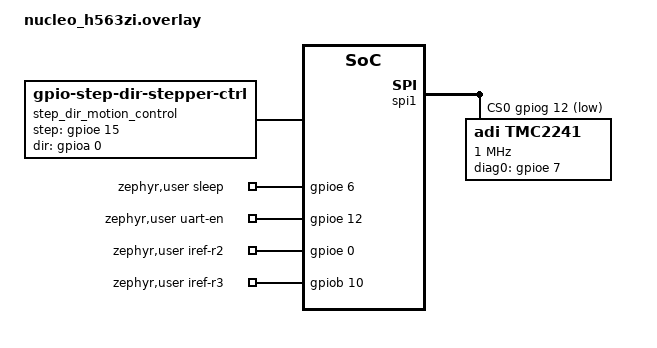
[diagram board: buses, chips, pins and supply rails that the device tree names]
/*
 * SPDX-FileCopyrightText: Copyright (c) 2026
 * SPDX-License-Identifier: Apache-2.0
 *
 * TMC2241-EVKIT (TMC2241-EVAL board), bridged to the Nucleo-H563ZI via the
 * "Sternbruecke Nucleo V0.1" adapter board (stacks on the Nucleo's Arduino/
 * Morpho headers, plugs directly into the EVAL board's J201 connector - no
 * loose jumper wires for the signals below). Every pin here was traced
 * directly off the Sternbruecke schematic + cross-checked against ST's
 * UM3115 Zio connector tables, not guessed.
 *
 * TMC2241-EVAL J201 pin -> Sternbruecke J101 pin -> Nucleo Zio Dxx -> STM32 pin:
 *   27 SPI_SCK    -> D13 -> PA5  (board default &spi1 pinctrl, unchanged)
 *   29 SPI_MOSI   -> D11 -> PB5  (board default &spi1 pinctrl, unchanged)
 *   28 SPI_MISO   -> D12 -> PG9  (board default &spi1 pinctrl, unchanged)
 *   24 SPI_CS_DRV -> D7  -> PG12 (overrides the board's default D10/PD14 CS)
 *    8 DRV_EN     -> D35 -> PA3
 *   38 DIAG0      -> D41 -> PE7
 *   19 SLEEP      -> D38 -> PE6  (must stay driven high - datasheet: floating/low = sleep)
 *   20 UART_EN    -> D39 -> PE12 (low = SPI mode)
 *    9 IREF_R2    -> D34 -> PE0  (low = lowest/safest current range, see IREF_R3)
 *   10 IREF_R3    -> D36 -> PB10
 *   23 CLK        -> Sternbruecke Y201 16MHz XTAL OSC. Its EN pin is pulled high
 *                     by default (R214, 4.7k to +3.3V); Nucleo D42 only pulls it
 *                     low to disable, so leaving D42 undriven means CLK is
 *                     actively driven at 16MHz (not grounded for the internal
 *                     osc) - clock-frequency below is set to 16000000 to match.
 *   17 STEP_INT   -> D37 -> PE15
 *   18 DIR_INT    -> D32 -> PA0
 *
 * STEP/DIR use the INT path (STEP_INT/DIR_INT, J201 pins 17/18, via the
 * Sternbruecke) rather than EXT (TMC2241-EVAL's separate J205 header) - no
 * loose jumper wires needed. This requires J206 and J207 (on the EVAL board)
 * to both have their shunt installed in the INT position (pins 1-2), not EXT
 * (pins 2-3) - without those shunts J205/INT is electrically disconnected
 * from the chip regardless of overlay wiring.
 */

/ {
	aliases {
		stepper-driver = &tmc2241_stepper_driver;
		stepper-ctrl = &step_dir_motion_control;
	};

	step_dir_motion_control: motion-controller {
		compatible = "zephyr,gpio-step-dir-stepper-ctrl";
		step-gpios = <&gpioe 15 GPIO_ACTIVE_HIGH>; /* STEP_INT, via Sternbruecke D37 */
		dir-gpios = <&gpioa 0 GPIO_ACTIVE_HIGH>;   /* DIR_INT, via Sternbruecke D32 */
		stepper-driver = <&tmc2241_stepper_driver>;
	};

	/* Static pins not covered by the tmc2241 DT binding - driven once at boot
	 * by main.c via the zephyr,user node (see HAS_STATIC_PINS in main.c).
	 */
	zephyr,user {
		/* must stay high - low/floating = chip sleep */
		sleep-gpios = <&gpioe 6 GPIO_ACTIVE_HIGH>;
		uart-en-gpios = <&gpioe 12 GPIO_ACTIVE_HIGH>; /* low = SPI mode */
		/* both low = 48kOhm = lowest current range */
		iref-r2-gpios = <&gpioe 0 GPIO_ACTIVE_HIGH>;
		iref-r3-gpios = <&gpiob 10 GPIO_ACTIVE_HIGH>;
	};
};

&spi1 {
	cs-gpios = <&gpiog 12 GPIO_ACTIVE_LOW>; /* overrides board default D10/PD14 */

	tmc2241: tmc2241@0 {
		compatible = "adi,tmc2241";
		reg = <0>;
		spi-max-frequency = <DT_FREQ_M(1)>;

		/* Sternbruecke Y201 XTAL OSC, actively driven (see header comment) */
		clock-frequency = <16000000>;
		diag0-gpios = <&gpioe 7 GPIO_ACTIVE_HIGH>;
		en-pwm-mode;
		/* >= measured TSTEP (400 fCLK cycles) at this sample's speed */
		tcoolthrs = <1000>;
		/* 12V/0.5A: unloaded SG4_RESULT >= 58, stalled 0-6; compared as 2x */
		sg4-threshold = <15>;

		tmc2241_stepper_driver: stepper-driver {
			compatible = "adi,tmc5241-stepper-driver";
			en-gpios = <&gpioa 3 GPIO_ACTIVE_LOW>; /* DRV_ENN active-low */
			/* 256 at the same step interval gave no usable SG4_RESULT */
			micro-step-res = <16>;
			/* unused while en-pwm-mode selects StallGuard4 */
			stallguard2-threshold = <12>;
		};
	};
};
